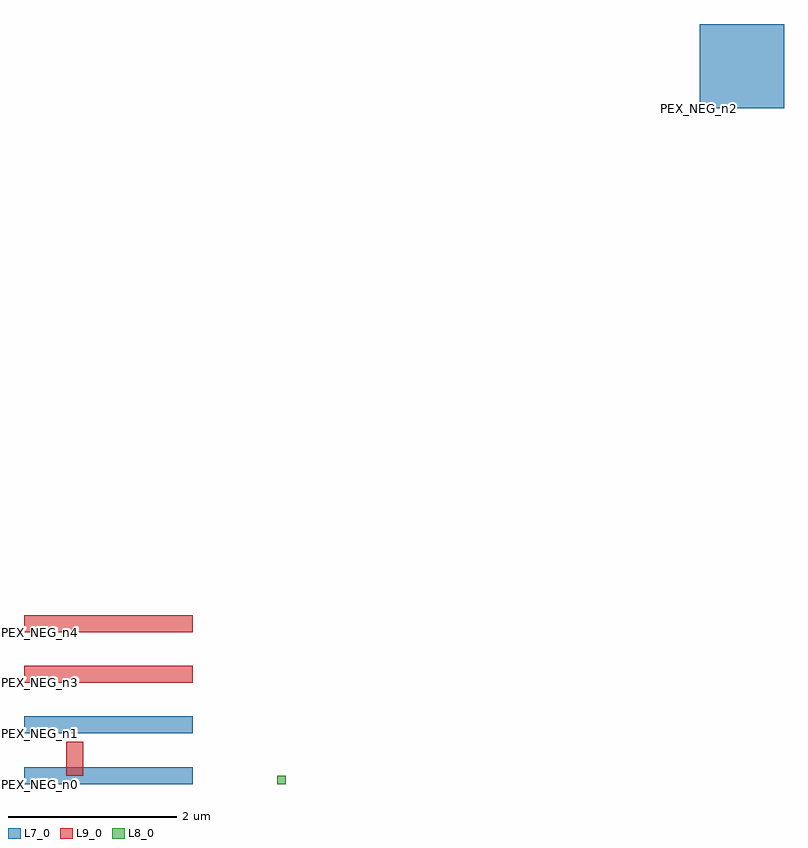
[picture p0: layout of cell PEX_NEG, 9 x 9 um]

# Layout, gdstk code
import gdstk
lib = gdstk.Library(unit=1e-6, precision=1e-09)
def R(c, l, rs):  # rectangles x0, y0, x1, y1
    for r in rs: c.add(gdstk.rectangle(r[:2], r[2:], *l))
L7_0 = (7, 0)
L8_0 = (8, 0)
L9_0 = (9, 0)

pex_neg = lib.new_cell('PEX_NEG')
R(pex_neg, L7_0, [(0,0,2,0.2), (0,0.6,2,0.8), (8,8,9,9)])
R(pex_neg, L8_0, [(3,0,3.1,0.1)])
R(pex_neg, L9_0, [(0.5,0.1,0.7,0.5), (0,1.2,2,1.4), (0,1.8,2,2)])
pex_neg.add(gdstk.Label('PEX_NEG_n0', (0,0), layer=7, texttype=5))
pex_neg.add(gdstk.Label('PEX_NEG_n1', (0,0.6), layer=7, texttype=5))
pex_neg.add(gdstk.Label('PEX_NEG_n2', (8,8), layer=7, texttype=5))
pex_neg.add(gdstk.Label('PEX_NEG_n3', (0,1.2), layer=9, texttype=5))
pex_neg.add(gdstk.Label('PEX_NEG_n4', (0,1.8), layer=9, texttype=5))
pex_neg.add(gdstk.Label('PEX_NEG_n5', (0.5,0.1), layer=9, texttype=5))

lib.write_gds('PEX_NEG.gds')
